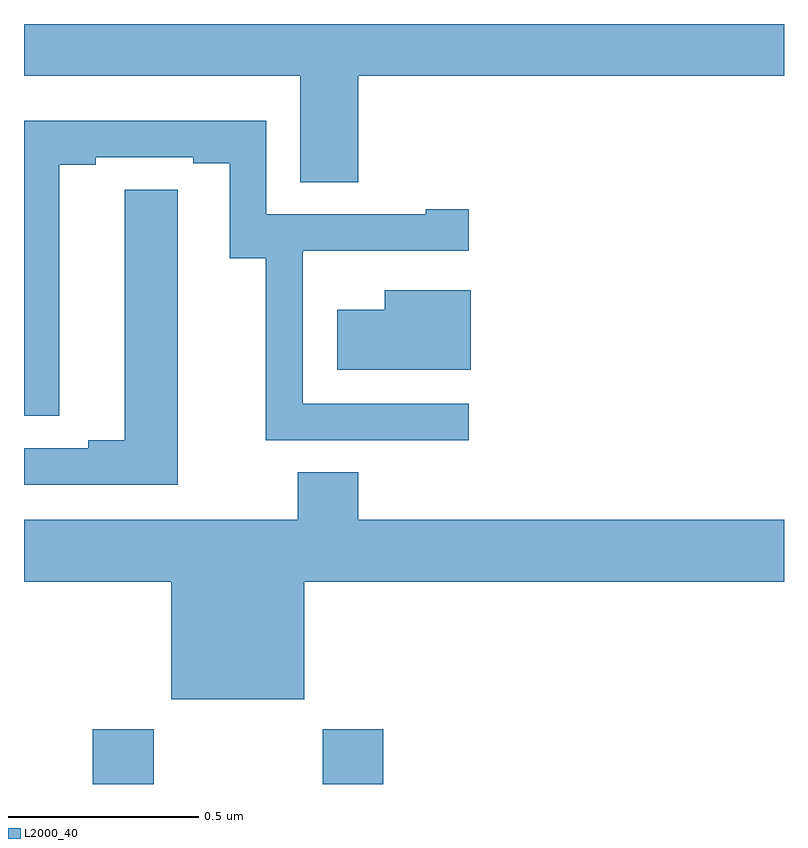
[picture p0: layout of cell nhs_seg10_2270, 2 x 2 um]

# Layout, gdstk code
import gdstk
lib = gdstk.Library(unit=1e-6, precision=1e-09)
def R(c, l, rs):  # rectangles x0, y0, x1, y1
    for r in rs: c.add(gdstk.rectangle(r[:2], r[2:], *l))
def P(c, l, *ps):  # polygons
    for p in ps: c.add(gdstk.Polygon(p, *l))
L2000_40 = (2000, 40)

nhs_seg10_2270 = lib.new_cell('nhs_seg10_2270')
R(nhs_seg10_2270, L2000_40, [(139.181,1250.5,139.341,1250.644), (139.786,1250.5,139.946,1250.644)])
P(nhs_seg10_2270, L2000_40, [(139.88,1252.364),(141,1252.364),(141,1252.5),(139,1252.5),(139,1252.364),(139.727,1252.364),(139.727,1252.084),(139.88,1252.084)],
  [(140.17,1251.501),(139.734,1251.501),(139.734,1251.902),(139.736,1251.902),(139.736,1251.903),(140.17,1251.903),(140.17,1252.012),(140.057,1252.012),(140.057,1251.999),(139.638,1251.999),(139.638,1252.245),(139,1252.245),(139,1251.469),(139.093,1251.469),(139.093,1252.129),(139.189,1252.129),(139.189,1252.149),(139.445,1252.149),(139.445,1252.134),(139.541,1252.134),(139.541,1251.883),(139.636,1251.883),(139.636,1251.405),(140.17,1251.405)],
  [(139.405,1251.956),(139.404,1251.956),(139.404,1252.064),(139.265,1252.064),(139.265,1251.404),(139.169,1251.404),(139.169,1251.384),(139,1251.384),(139,1251.288),(139.405,1251.288)],
  [(140.176,1251.799),(139.949,1251.799),(139.949,1251.748),(139.824,1251.748),(139.824,1251.59),(140.176,1251.59)],
  [(139.738,1251.032),(141,1251.032),(141,1251.196),(139.88,1251.196),(139.88,1251.32),(139.72,1251.32),(139.72,1251.196),(139,1251.196),(139,1251.032),(139.388,1251.032),(139.388,1250.723),(139.738,1250.723)])

lib.write_gds('nhs_seg10_2270.gds')
